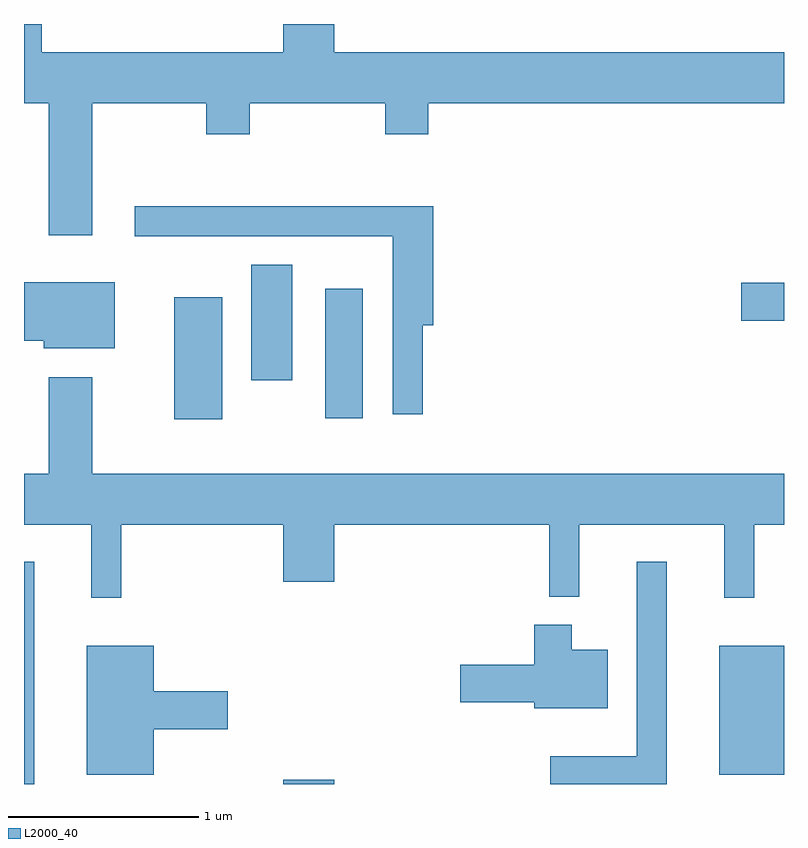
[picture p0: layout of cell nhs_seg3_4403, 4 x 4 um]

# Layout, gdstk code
import gdstk
lib = gdstk.Library(unit=1e-6, precision=1e-09)
def R(c, l, rs):  # rectangles x0, y0, x1, y1
    for r in rs: c.add(gdstk.rectangle(r[:2], r[2:], *l))
def P(c, l, *ps):  # polygons
    for p in ps: c.add(gdstk.Polygon(p, *l))
L2000_40 = (2000, 40)

nhs_seg3_4403 = lib.new_cell('nhs_seg3_4403')
R(nhs_seg3_4403, L2000_40, [(313.611,1217.892,313.664,1219.063), (314.976,1217.892,315.244,1217.914), (317.271,1217.941,317.611,1218.619), (314.401,1219.811,314.654,1220.454), (315.196,1219.816,315.394,1220.499), (314.806,1220.016,315.024,1220.624), (317.386,1220.331,317.611,1220.529)])
P(nhs_seg3_4403, L2000_40, [(313.969,1221.476),(314.571,1221.476),(314.571,1221.311),(314.799,1221.311),(314.799,1221.476),(315.511,1221.476),(315.511,1221.311),(315.739,1221.311),(315.739,1221.476),(317.611,1221.476),(317.611,1221.744),(315.244,1221.744),(315.244,1221.892),(314.976,1221.892),(314.976,1221.744),(313.704,1221.744),(313.704,1221.892),(313.611,1221.892),(313.611,1221.476),(313.741,1221.476),(313.741,1220.781),(313.969,1220.781)],
  [(315.709,1220.306),(315.764,1220.306),(315.764,1220.934),(314.193,1220.934),(314.193,1220.776),(315.551,1220.776),(315.551,1219.838),(315.709,1219.838)],
  [(314.089,1220.534),(313.611,1220.534),(313.611,1220.226),(313.716,1220.226),(313.716,1220.186),(314.089,1220.186)],
  [(314.124,1219.256),(314.976,1219.256),(314.976,1218.956),(315.244,1218.956),(315.244,1219.256),(316.376,1219.256),(316.376,1218.878),(316.534,1218.878),(316.534,1219.256),(317.296,1219.256),(317.296,1218.873),(317.454,1218.873),(317.454,1219.256),(317.611,1219.256),(317.611,1219.524),(313.969,1219.524),(313.969,1220.034),(313.741,1220.034),(313.741,1219.524),(313.611,1219.524),(313.611,1219.256),(313.966,1219.256),(313.966,1218.873),(314.124,1218.873)],
  [(316.994,1219.063),(316.836,1219.063),(316.836,1218.039),(316.381,1218.039),(316.381,1217.892),(316.994,1217.892)],
  [(316.684,1218.599),(316.494,1218.599),(316.494,1218.729),(316.296,1218.729),(316.296,1218.519),(315.906,1218.519),(315.906,1218.321),(316.296,1218.321),(316.296,1218.291),(316.684,1218.291)],
  [(314.294,1218.181),(314.684,1218.181),(314.684,1218.379),(314.294,1218.379),(314.294,1218.619),(313.941,1218.619),(313.941,1217.941),(314.294,1217.941)])

lib.write_gds('nhs_seg3_4403.gds')
